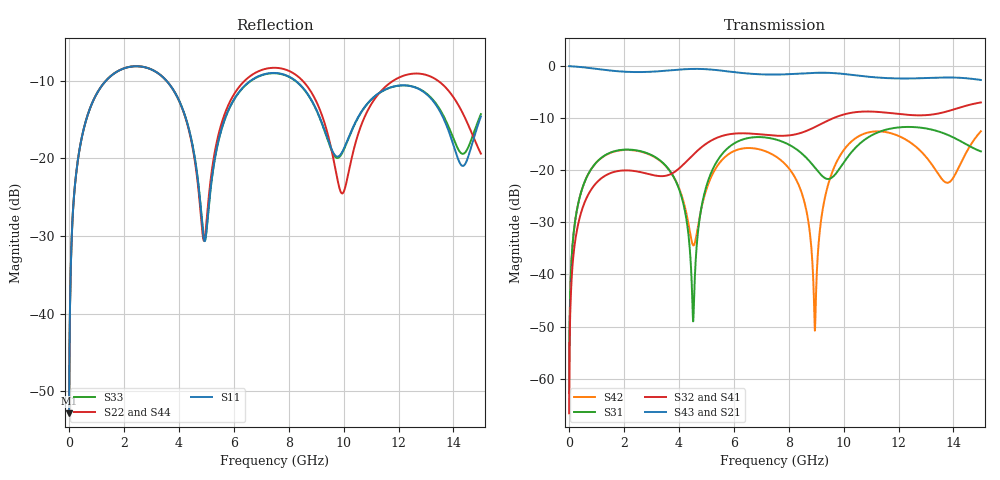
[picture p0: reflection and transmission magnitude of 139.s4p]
! Created with skrf 1.8.0 (http://scikit-rf.org).
# GHz S RI R 50.0
!freq ReS11 ImS11 ReS12 ImS12 ReS13 ImS13
! ReS14 ImS14
! ReS21 ImS21 ReS22 ImS22 ReS23 ImS23
! ReS24 ImS24
! ReS31 ImS31 ReS32 ImS32 ReS33 ImS33
! ReS34 ImS34
! ReS41 ImS41 ReS42 ImS42 ReS43 ImS43
! ReS44 ImS44
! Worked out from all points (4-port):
!   2499 points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, 5 MHz to 15 GHz, reference 50 ohm
!   strongest paths, dB at 5 MHz, 3.476 GHz, 7.19 GHz, 11.1 GHz, 15 GHz:
!     S43: 0.0, -0.9, -1.6, -2.1, -2.7
!     S21: 0.0, -0.9, -1.6, -2.1, -2.7
!     S32: -66.6, -21.1, -13.2, -8.7, -7.0
!     S41: -66.6, -21.1, -13.3, -8.8, -7.0
!     S31: -62.7, -18.9, -13.7, -13.1, -16.4
!     S42: -62.7, -18.9, -16.4, -12.6, -12.5
!   lowest |S11| = -52.8 dB at 5 MHz (marker M1), VSWR 1.00, Z = 50.2 + j0.139 ohm
!   |S11| at or under -10 dB: start of sweep to 1.345 GHz; 3.55 GHz to 6.614 GHz (3.064 GHz wide, 60.3 % of centre); 8.253 GHz to end of sweep
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0.005  0.00182 0.00138  0.9981 -0.00354  9.22e-05 0.00073  -8.95e-05 -0.000456
       0.9981 -0.00354  0.00182 0.00138  -8.95e-05 -0.000456  9.22e-05 0.00073
       9.22e-05 0.00073  -8.95e-05 -0.000456  0.00182 0.00138  0.9981 -0.00354
       -8.95e-05 -0.000456  9.22e-05 0.00073  0.9981 -0.00354  0.00182 0.00138
1.825761  0.347 0.1234  0.3434 -0.8215  0.1535 0.0267  -0.0945 0.0279
          0.3434 -0.8215  0.3478 0.1223  -0.0947 0.0281  0.1515 0.0314
          0.1535 0.0267  -0.0947 0.0281  0.3469 0.1235  0.3433 -0.8214
          -0.0945 0.0279  0.1515 0.0314  0.3433 -0.8214  0.348 0.1222
4.520634  0.0555 -0.1016  -0.8839 -0.3187  0.00354 -0.000196  -0.0443 0.1337
          -0.8839 -0.3187  0.0538 -0.0988  -0.0427 0.1343  -0.0181 -0.00602
          0.00354 -0.000196  -0.0427 0.1343  0.0559 -0.1023  -0.8838 -0.3188
          -0.0443 0.1337  -0.0181 -0.00602  -0.8838 -0.3188  0.0539 -0.0996
5.033347  0.0319 0.0216  -0.9321 0.00388  0.0332 0.0668  0.00657 0.1825
          -0.9321 0.00388  0.0334 0.0287  0.00869 0.1824  -0.00513 0.0689
          0.0332 0.0668  0.00869 0.1824  0.0318 0.0206  -0.9321 0.0038
          0.00657 0.1825  -0.00513 0.0689  -0.9321 0.0038  0.0334 0.0279
8.953731  0.1791 -0.1211  0.6185 0.5988  -0.0626 -0.0859  0.1769 -0.1903
          0.6185 0.5988  0.169 -0.1744  0.1725 -0.1943  0.00259 0.00129
          -0.0626 -0.0859  0.1725 -0.1943  0.1779 -0.1199  0.6198 0.5979
          0.1769 -0.1903  0.00259 0.00129  0.6198 0.5979  0.1681 -0.1733
10.2105  0.128 0.0569  0.8279 -0.0497  0.029 0.1377  -0.0399 -0.3505
         0.8279 -0.0497  0.0749 0.042  -0.0469 -0.3503  0.0709 0.1665
         0.029 0.1377  -0.0469 -0.3503  0.1256 0.0589  0.8275 -0.0524
         -0.0399 -0.3505  0.0709 0.1665  0.8275 -0.0524  0.0787 0.0459
15  0.1339 0.1289  -0.7287 -0.1076  -0.1318 0.0752  -0.0637 0.4434
    -0.7287 -0.1076  0.0873 -0.0624  -0.0455 0.4453  0.1676 0.1673
    -0.1318 0.0752  -0.0455 0.4453  0.1496 0.1217  -0.7285 -0.1051
    -0.0637 0.4434  0.1676 0.1673  -0.7285 -0.1051  0.0818 -0.0671
